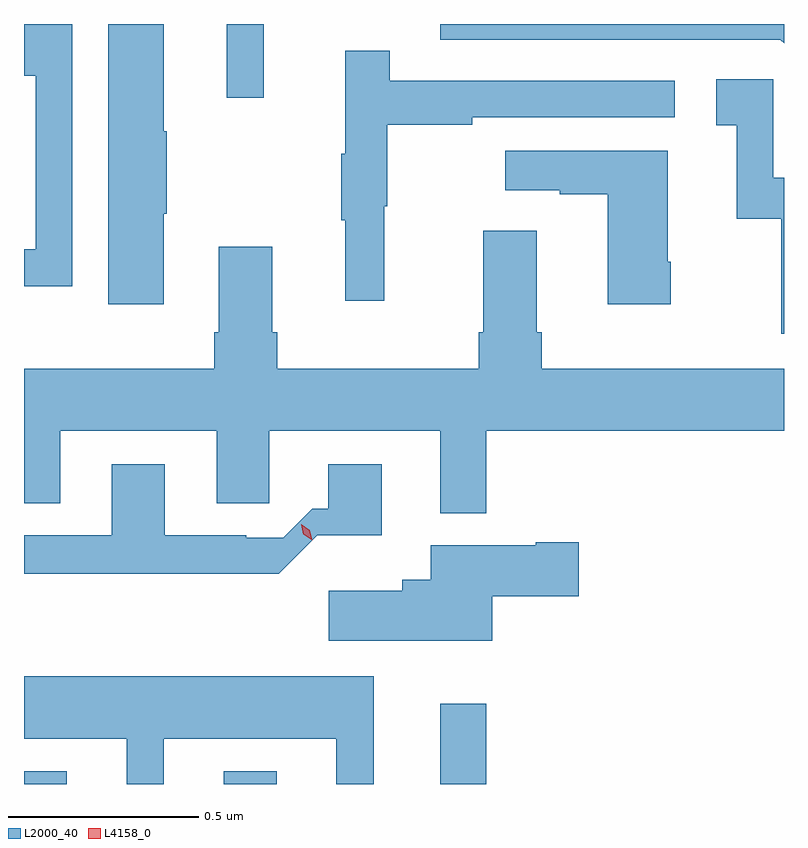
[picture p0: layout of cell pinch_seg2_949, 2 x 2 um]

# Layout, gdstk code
import gdstk
lib = gdstk.Library(unit=1e-6, precision=1e-09)
def R(c, l, rs):  # rectangles x0, y0, x1, y1
    for r in rs: c.add(gdstk.rectangle(r[:2], r[2:], *l))
def P(c, l, *ps):  # polygons
    for p in ps: c.add(gdstk.Polygon(p, *l))
L2000_40 = (2000, 40)
L4158_0 = (4158, 0)

pinch_seg2_949 = lib.new_cell('pinch_seg2_949')
R(pinch_seg2_949, L2000_40, [(507.02,664.023,507.133,664.057), (507.545,664.023,507.685,664.057), (508.115,664.023,508.237,664.234), (507.554,665.829,507.651,666.023)])
P(pinch_seg2_949, L2000_40, [(507.388,665.524),(507.396,665.524),(507.396,665.741),(507.388,665.741),(507.388,666.023),(507.242,666.023),(507.242,665.286),(507.388,665.286)],
  [(507.147,666.023),(507.02,666.023),(507.02,665.887),(507.051,665.887),(507.051,665.43),(507.02,665.43),(507.02,665.333),(507.147,665.333)],
  [(509.02,666.023),(508.116,666.023),(508.116,665.982),(509.01,665.982),(509.02,665.972)],
  [(507.968,665.544),(507.976,665.544),(507.976,665.758),(508.199,665.758),(508.199,665.778),(508.732,665.778),(508.732,665.874),(507.983,665.874),(507.983,665.953),(507.866,665.953),(507.866,665.681),(507.855,665.681),(507.855,665.507),(507.866,665.507),(507.866,665.295),(507.968,665.295)],
  [(509.02,665.619),(508.992,665.619),(508.992,665.878),(508.842,665.878),(508.842,665.757),(508.895,665.757),(508.895,665.511),(509.013,665.511),(509.013,665.208),(509.02,665.208)],
  [(508.722,665.398),(508.714,665.398),(508.714,665.689),(508.287,665.689),(508.287,665.585),(508.43,665.585),(508.43,665.575),(508.556,665.575),(508.556,665.286),(508.722,665.286)],
  [(508.237,664.952),(509.02,664.952),(509.02,665.116),(508.382,665.116),(508.382,665.212),(508.369,665.212),(508.369,665.479),(508.229,665.479),(508.229,665.212),(508.217,665.212),(508.217,665.116),(507.686,665.116),(507.686,665.212),(507.673,665.212),(507.673,665.437),(507.533,665.437),(507.533,665.212),(507.521,665.212),(507.521,665.116),(507.02,665.116),(507.02,664.762),(507.115,664.762),(507.115,664.952),(507.527,664.952),(507.527,664.762),(507.666,664.762),(507.666,664.952),(508.115,664.952),(508.115,664.736),(508.237,664.736)],
  [(507.792,664.677),(507.961,664.677),(507.961,664.864),(507.821,664.864),(507.821,664.748),(507.779,664.748),(507.702,664.671),(507.605,664.671),(507.605,664.677),(507.391,664.677),(507.391,664.864),(507.251,664.864),(507.251,664.677),(507.02,664.677),(507.02,664.576),(507.691,664.576)],
  [(508.252,664.517),(508.48,664.517),(508.48,664.659),(508.367,664.659),(508.367,664.651),(508.091,664.651),(508.091,664.561),(508.016,664.561),(508.016,664.531),(507.822,664.531),(507.822,664.4),(508.252,664.4)],
  [(507.388,664.142),(507.842,664.142),(507.842,664.023),(507.94,664.023),(507.94,664.306),(507.02,664.306),(507.02,664.142),(507.29,664.142),(507.29,664.023),(507.388,664.023)])
P(pinch_seg2_949, L4158_0, [(507.778,664.664),(507.778,664.664),(507.755,664.68),(507.749,664.707),(507.749,664.707),(507.75,664.707),(507.772,664.691),(507.778,664.665)])

lib.write_gds('pinch_seg2_949.gds')
